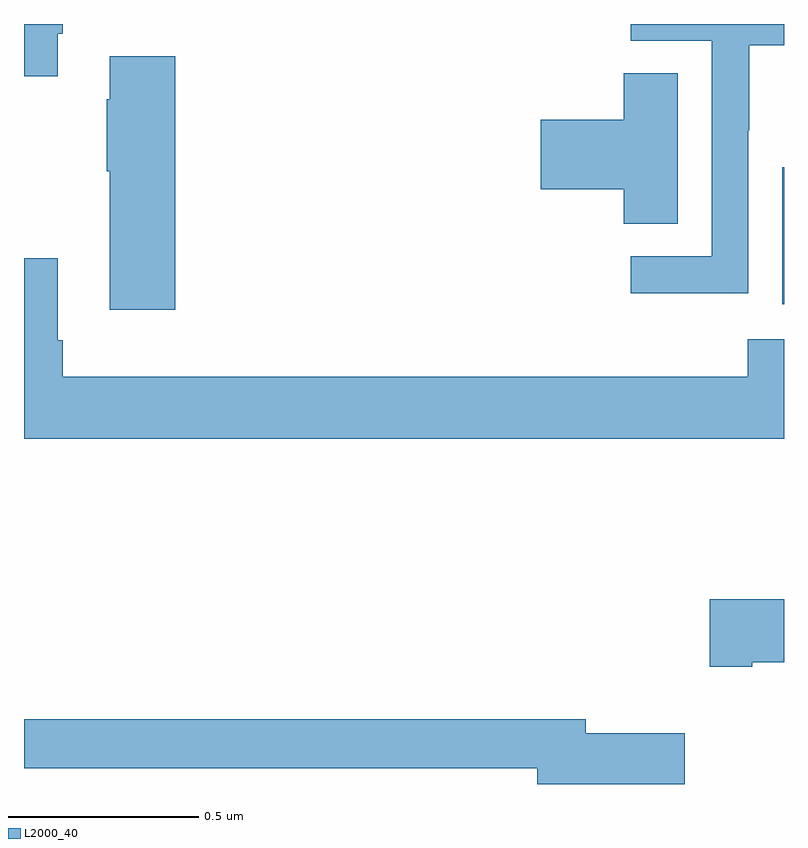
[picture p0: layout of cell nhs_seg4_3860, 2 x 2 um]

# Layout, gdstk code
import gdstk
lib = gdstk.Library(unit=1e-6, precision=1e-09)
def R(c, l, rs):  # rectangles x0, y0, x1, y1
    for r in rs: c.add(gdstk.rectangle(r[:2], r[2:], *l))
def P(c, l, *ps):  # polygons
    for p in ps: c.add(gdstk.Polygon(p, *l))
L2000_40 = (2000, 40)

nhs_seg4_3860 = lib.new_cell('nhs_seg4_3860')
R(nhs_seg4_3860, L2000_40, [(159.995,809.162,160,809.523)])
P(nhs_seg4_3860, L2000_40, [(159.906,809.62),(159.909,809.62),(159.909,809.844),(160,809.844),(160,809.9),(159.597,809.9),(159.597,809.856),(159.81,809.856),(159.81,809.289),(159.597,809.289),(159.597,809.191),(159.906,809.191)],
  [(158.089,809.875),(158.102,809.875),(158.102,809.9),(158,809.9),(158,809.763),(158.089,809.763)],
  [(158.398,809.815),(158.225,809.815),(158.225,809.702),(158.218,809.702),(158.218,809.513),(158.225,809.513),(158.225,809.148),(158.398,809.148)],
  [(159.721,809.771),(159.578,809.771),(159.578,809.648),(159.36,809.648),(159.36,809.465),(159.578,809.465),(159.578,809.374),(159.721,809.374)],
  [(160,809.071),(159.905,809.071),(159.905,808.972),(158.102,808.972),(158.102,809.068),(158.089,809.068),(158.089,809.284),(158,809.284),(158,808.808),(160,808.808)],
  [(159.916,808.22),(160,808.22),(160,808.386),(159.804,808.386),(159.804,808.208),(159.916,808.208)],
  [(159.739,808.034),(159.478,808.034),(159.478,808.07),(158,808.07),(158,807.942),(159.35,807.942),(159.35,807.9),(159.739,807.9)])

lib.write_gds('nhs_seg4_3860.gds')
